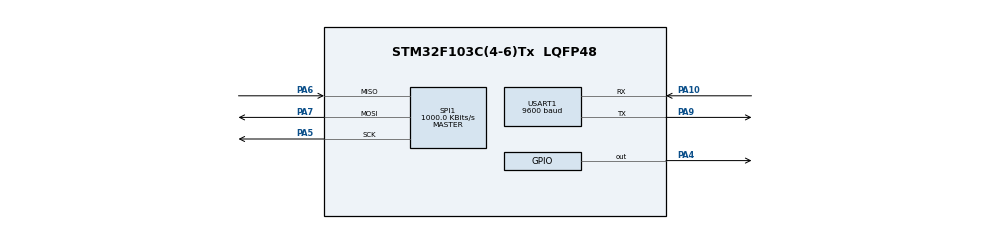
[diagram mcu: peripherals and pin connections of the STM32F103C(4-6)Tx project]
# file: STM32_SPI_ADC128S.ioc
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Mcu.Family=STM32F1
Mcu.Name=STM32F103C(4-6)Tx
Mcu.Package=LQFP48
NVIC.PriorityGroup=NVIC_PRIORITYGROUP_4
PA10.Mode=Asynchronous
PA10.Signal=USART1_RX
PA4.Signal=GPIO_Output
PA5.Mode=Full_Duplex_Master
PA5.Signal=SPI1_SCK
PA6.Mode=Full_Duplex_Master
PA6.Signal=SPI1_MISO
PA7.Mode=Full_Duplex_Master
PA7.Signal=SPI1_MOSI
PA9.Mode=Asynchronous
PA9.Signal=USART1_TX
ProjectManager.HeapSize=0x200
ProjectManager.StackSize=0x400
ProjectManager.TargetToolchain=STM32CubeIDE
RCC.APB1Freq_Value=8000000
RCC.APB2Freq_Value=8000000
SPI1.BaudRatePrescaler=SPI_BAUDRATEPRESCALER_8
SPI1.CalculateBaudRate=1000.0 KBits/s
SPI1.Direction=SPI_DIRECTION_2LINES
SPI1.Mode=SPI_MODE_MASTER
SPI1.VirtualType=VM_MASTER
USART1.BaudRate=9600
USART1.VirtualMode=VM_ASYNC
VP_SYS_VS_ND.Mode=No_Debug
board=custom

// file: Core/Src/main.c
/* USER CODE BEGIN Header */
/**
  ******************************************************************************
  * @file           : main.c
  * @brief          : Main program body
  ******************************************************************************
  * @attention
  *
  * Copyright (c) 2024 STMicroelectronics.
  * All rights reserved.
  *
  * This software is licensed under terms that can be found in the LICENSE file
  * in the root directory of this software component.
  * If no LICENSE file comes with this software, it is provided AS-IS.
  *
  ******************************************************************************
  */
/* USER CODE END Header */
#include "main.h"

/* USER CODE BEGIN Includes */
#include <math.h>
#include <stdio.h>
#include <string.h>
/* USER CODE END Includes */

SPI_HandleTypeDef hspi1;

UART_HandleTypeDef huart1;

void SystemClock_Config(void);
static void MX_GPIO_Init(void);
static void MX_SPI1_Init(void);
static void MX_USART1_UART_Init(void);

/* USER CODE BEGIN 0 */
#define REF 5.0

int readADC(int chan)
{
uint8_t txData[2] = {chan << 3, 0};
uint8_t rxData[2];
HAL_GPIO_WritePin(GPIOA, GPIO_PIN_4, GPIO_PIN_RESET);
HAL_SPI_TransmitReceive(&hspi1, txData, rxData, 2, HAL_MAX_DELAY);
HAL_GPIO_WritePin(GPIOA, GPIO_PIN_4, GPIO_PIN_SET);
return (rxData[0] << 8) | rxData[1];
}
/* USER CODE END 0 */

int main(void)
{

  /* MCU Configuration--------------------------------------------------------*/

  /* Reset of all peripherals, Initializes the Flash interface and the Systick. */
  HAL_Init();

  /* Configure the system clock */
  SystemClock_Config();

  /* Initialize all configured peripherals */
  MX_GPIO_Init();
  MX_SPI1_Init();
  MX_USART1_UART_Init();

  /* Infinite loop */
  while (1)
  {

    /* USER CODE BEGIN 3 */
    HAL_UART_Transmit(&huart1, (uint8_t*)" \n\r ", 3, HAL_MAX_DELAY);
    for (int ch = 0; ch < 8; ch++)
    {
    int newCh = (ch == 7) ? 0 : ch + 1;
    int val = readADC(newCh);
    float reading = (val * (REF / 4096));
    char MSG[60];
    sprintf(MSG,"ch %d = reading %.2f Volt",ch , reading);
    HAL_UART_Transmit(&huart1, (uint8_t*)MSG, sizeof(MSG), HAL_MAX_DELAY);
    HAL_UART_Transmit(&huart1, (uint8_t*)"\n\r", 3, HAL_MAX_DELAY);
    }
    HAL_Delay(2000);
  }
  /* USER CODE END 3 */
}

void SystemClock_Config(void)
{
  RCC_OscInitTypeDef RCC_OscInitStruct = {0};
  RCC_ClkInitTypeDef RCC_ClkInitStruct = {0};

  /** Initializes the RCC Oscillators according to the specified parameters
  * in the RCC_OscInitTypeDef structure.
  */
  RCC_OscInitStruct.OscillatorType = RCC_OSCILLATORTYPE_HSI;
  RCC_OscInitStruct.HSIState = RCC_HSI_ON;
  RCC_OscInitStruct.HSICalibrationValue = RCC_HSICALIBRATION_DEFAULT;
  RCC_OscInitStruct.PLL.PLLState = RCC_PLL_NONE;
  if (HAL_RCC_OscConfig(&RCC_OscInitStruct) != HAL_OK)
  {
    Error_Handler();
  }

  /** Initializes the CPU, AHB and APB buses clocks
  */
  RCC_ClkInitStruct.ClockType = RCC_CLOCKTYPE_HCLK|RCC_CLOCKTYPE_SYSCLK
                              |RCC_CLOCKTYPE_PCLK1|RCC_CLOCKTYPE_PCLK2;
  RCC_ClkInitStruct.SYSCLKSource = RCC_SYSCLKSOURCE_HSI;
  RCC_ClkInitStruct.AHBCLKDivider = RCC_SYSCLK_DIV1;
  RCC_ClkInitStruct.APB1CLKDivider = RCC_HCLK_DIV1;
  RCC_ClkInitStruct.APB2CLKDivider = RCC_HCLK_DIV1;

  if (HAL_RCC_ClockConfig(&RCC_ClkInitStruct, FLASH_LATENCY_0) != HAL_OK)
  {
    Error_Handler();
  }
}

static void MX_SPI1_Init(void)
{

  /* SPI1 parameter configuration*/
  hspi1.Instance = SPI1;
  hspi1.Init.Mode = SPI_MODE_MASTER;
  hspi1.Init.Direction = SPI_DIRECTION_2LINES;
  hspi1.Init.DataSize = SPI_DATASIZE_8BIT;
  hspi1.Init.CLKPolarity = SPI_POLARITY_LOW;
  hspi1.Init.CLKPhase = SPI_PHASE_1EDGE;
  hspi1.Init.NSS = SPI_NSS_SOFT;
  hspi1.Init.BaudRatePrescaler = SPI_BAUDRATEPRESCALER_8;
  hspi1.Init.FirstBit = SPI_FIRSTBIT_MSB;
  hspi1.Init.TIMode = SPI_TIMODE_DISABLE;
  hspi1.Init.CRCCalculation = SPI_CRCCALCULATION_DISABLE;
  hspi1.Init.CRCPolynomial = 10;
  if (HAL_SPI_Init(&hspi1) != HAL_OK)
  {
    Error_Handler();
  }

}

static void MX_USART1_UART_Init(void)
{

  huart1.Instance = USART1;
  huart1.Init.BaudRate = 9600;
  huart1.Init.WordLength = UART_WORDLENGTH_8B;
  huart1.Init.StopBits = UART_STOPBITS_1;
  huart1.Init.Parity = UART_PARITY_NONE;
  huart1.Init.Mode = UART_MODE_TX_RX;
  huart1.Init.HwFlowCtl = UART_HWCONTROL_NONE;
  huart1.Init.OverSampling = UART_OVERSAMPLING_16;
  if (HAL_UART_Init(&huart1) != HAL_OK)
  {
    Error_Handler();
  }

}

static void MX_GPIO_Init(void)
{
  GPIO_InitTypeDef GPIO_InitStruct = {0};

  /* GPIO Ports Clock Enable */
  __HAL_RCC_GPIOA_CLK_ENABLE();

  /*Configure GPIO pin Output Level */
  HAL_GPIO_WritePin(GPIOA, GPIO_PIN_4, GPIO_PIN_RESET);

  /*Configure GPIO pin : PA4 */
  GPIO_InitStruct.Pin = GPIO_PIN_4;
  GPIO_InitStruct.Mode = GPIO_MODE_OUTPUT_PP;
  GPIO_InitStruct.Pull = GPIO_NOPULL;
  GPIO_InitStruct.Speed = GPIO_SPEED_FREQ_LOW;
  HAL_GPIO_Init(GPIOA, &GPIO_InitStruct);

}

void Error_Handler(void)
{
  __disable_irq();
  while (1)
  {
  }
}
